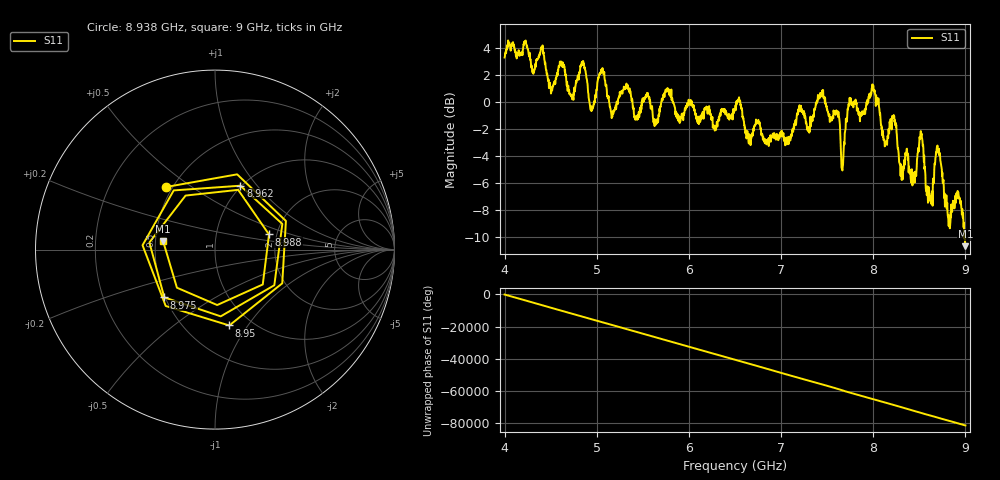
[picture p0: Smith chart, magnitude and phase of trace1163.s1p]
! Created with skrf 1.8.0 (http://scikit-rf.org).
# Hz S RI R 50.0
!freq ReS11 ImS11
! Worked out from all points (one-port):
!   1601 points, 4 GHz to 9 GHz, reference 50 ohm
!   lowest |S11| = -10.7 dB at 9 GHz (marker M1), VSWR 1.83, Z = 27.5 + j2.73 ohm
!   |S11| at or under -10 dB: 8.987651 GHz to 8.98866 GHz (1.009 MHz wide, 0.0112 % of centre); 8.992924 GHz to end of sweep
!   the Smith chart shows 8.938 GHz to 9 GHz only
!   S11 on the Smith chart (normalised r, x): 8.938 GHz: 0.46, +0.40; 8.95 GHz: 0.79, -0.82; 8.962 GHz: 0.99, +0.82; 8.975 GHz: 0.50, -0.31; 8.988 GHz: 1.82, +0.34; 9 GHz: 0.55, +0.05
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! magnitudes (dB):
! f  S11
! 4 GHz  3.3
! 4.625 GHz  2.8
! 4.728 GHz  0.4
! 4.853 GHz  3.0
! 4.944 GHz  -0.3
! 5.05 GHz  2.2
! 5.25 GHz  0.7
! 5.875 GHz  -1.2
! 6.5 GHz  -0.6
! 7.125 GHz  -2.0
! 7.447 GHz  0.9
! 7.669 GHz  -4.8
! 7.75 GHz  0.0
! 8 GHz  1.2
! 8.125 GHz  -3.3
! 8.228 GHz  -1.0
! 8.303 GHz  -5.1
! 8.375 GHz  -4.3
! 8.522 GHz  -2.4
! 8.619 GHz  -7.3
! 8.703 GHz  -3.5
! 8.812 GHz  -8.5
! 8.938 GHz  -7.1
! 8.95 GHz  -7.3
! 8.962 GHz  -8.3
! 8.975 GHz  -8.2
! 8.988 GHz  -10.1
! 9 GHz  -10.7
